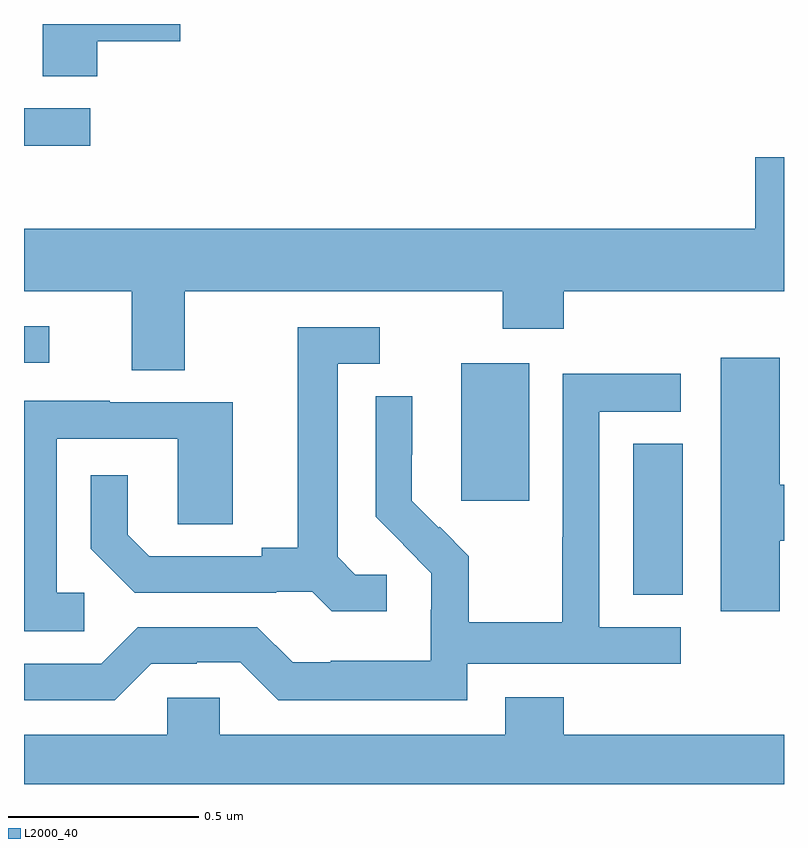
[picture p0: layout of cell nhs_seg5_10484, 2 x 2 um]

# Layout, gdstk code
import gdstk
lib = gdstk.Library(unit=1e-6, precision=1e-09)
def R(c, l, rs):  # rectangles x0, y0, x1, y1
    for r in rs: c.add(gdstk.rectangle(r[:2], r[2:], *l))
def P(c, l, *ps):  # polygons
    for p in ps: c.add(gdstk.Polygon(p, *l))
L2000_40 = (2000, 40)

nhs_seg5_10484 = lib.new_cell('nhs_seg5_10484')
R(nhs_seg5_10484, L2000_40, [(248.603,853.297,248.734,853.694), (248.15,853.545,248.329,853.906), (247,853.908,247.066,854.004), (247,854.479,247.174,854.577)])
P(nhs_seg5_10484, L2000_40, [(247.193,854.753),(247.411,854.753),(247.411,854.799),(247.049,854.799),(247.049,854.662),(247.193,854.662)],
  [(247.423,854.096),(248.26,854.096),(248.26,853.997),(248.42,853.997),(248.42,854.096),(249,854.096),(249,854.449),(248.924,854.449),(248.924,854.26),(247,854.26),(247,854.096),(247.283,854.096),(247.283,853.888),(247.423,853.888)],
  [(247.954,853.35),(247.872,853.35),(247.825,853.397),(247.825,853.905),(247.936,853.905),(247.936,854.001),(247.721,854.001),(247.721,853.421),(247.625,853.421),(247.625,853.398),(247.33,853.398),(247.273,853.455),(247.273,853.612),(247.176,853.612),(247.176,853.418),(247.292,853.302),(247.664,853.302),(247.664,853.305),(247.758,853.305),(247.81,853.253),(247.954,853.253)],
  [(248.989,853.439),(249,853.439),(249,853.586),(248.989,853.586),(248.989,853.921),(248.834,853.921),(248.834,853.254),(248.989,853.254)],
  [(248.166,853.116),(248.728,853.116),(248.728,853.212),(248.514,853.212),(248.514,853.779),(248.728,853.779),(248.728,853.878),(248.418,853.878),(248.418,853.448),(248.416,853.448),(248.416,853.225),(248.171,853.225),(248.171,853.399),(248.094,853.476),(248.091,853.473),(248.021,853.544),(248.021,853.666),(248.022,853.666),(248.022,853.82),(247.926,853.82),(247.926,853.502),(247.999,853.429),(247.998,853.428),(248.072,853.354),(248.072,853.257),(248.07,853.257),(248.07,853.123),(247.807,853.123),(247.807,853.119),(247.707,853.119),(247.614,853.212),(247.299,853.212),(247.203,853.116),(247,853.116),(247,853.02),(247.239,853.02),(247.335,853.116),(247.454,853.116),(247.454,853.119),(247.569,853.119),(247.669,853.019),(248.166,853.019)],
  [(247.159,853.302),(247.086,853.302),(247.086,853.707),(247.404,853.707),(247.404,853.483),(247.549,853.483),(247.549,853.803),(247.225,853.803),(247.225,853.807),(247,853.807),(247,853.201),(247.159,853.201)],
  [(249,852.928),(248.42,852.928),(248.42,853.027),(248.267,853.027),(248.267,852.928),(247.515,852.928),(247.515,853.026),(247.377,853.026),(247.377,852.928),(247,852.928),(247,852.799),(249,852.799)])

lib.write_gds('nhs_seg5_10484.gds')
